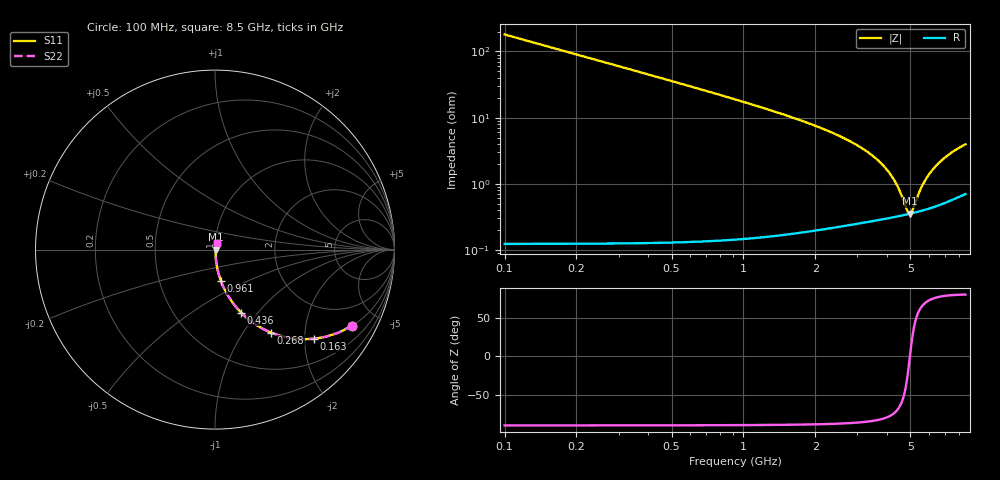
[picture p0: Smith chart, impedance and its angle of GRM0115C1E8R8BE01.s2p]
!Murata Part Number: GRM0115C1E8R8BE01
!These Parameters are Measured in Series Mode Connection
!Data Generated on Mar 30, 2021
!  o--ll--o
!Port1  Port2
!  o------o
!Operation Temp=25[degC], DC Bias Voltage=0[V]
!Freq. Start=100[MHz] Stop=9[GHz] 401[Steps]
# Hz S RI R 50
!Freq.(Hz) S11(Real) S11(Imag) S21(Real) S21(Imag) S12(Real) S12(Imag) S22(Real) S22(Imag)
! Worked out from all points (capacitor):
!   401 points, 100 MHz to 8.5 GHz, reference 50 ohm
!   read as one part in series: C = 8.8 pF near 142 MHz
!   lowest |Z| = 353 mohm at 4.972 GHz (marker M1)
!   series resonance near 4.98 GHz, so ESL is about 120 pH
!   S11 on the Smith chart (normalised r, x): 100 MHz: 1.00, -3.62; 163 MHz: 1.00, -2.22; 268 MHz: 1.00, -1.35; 436 MHz: 1.00, -0.82; 961 MHz: 1.00, -0.36; 8.5 GHz: 1.01, +0.08
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1e8  0.7656 -0.4233  0.2344 0.4233  0.2344 0.4233  0.7656 -0.4233
1.63e8  0.5512 -0.4968  0.4488 0.4968  0.4488 0.4968  0.5512 -0.4968
2.05e8  0.4369 -0.4953  0.5631 0.4953  0.5631 0.4953  0.4369 -0.4953
2.68e8  0.3119 -0.4623  0.6881 0.4623  0.6881 0.4623  0.3119 -0.4623
3.52e8  0.2077 -0.4044  0.7923 0.4044  0.7923 0.4044  0.2077 -0.4044
4.36e8  0.1455 -0.3511  0.8545 0.3511  0.8545 0.3511  0.1455 -0.3511
6.46e8  0.0714 -0.255  0.9286 0.255  0.9286 0.255  0.0714 -0.255
9.61e8  0.033 -0.1746  0.967 0.1746  0.967 0.1746  0.033 -0.1746
1.507e9  0.0133 -0.1069  0.9867 0.1069  0.9867 0.1069  0.0133 -0.1069
2.914e9  0.00405 -0.0401  0.9959 0.0401  0.9959 0.0401  0.00405 -0.0401
3.733e9  0.00328 -0.0208  0.9967 0.0208  0.9967 0.0208  0.00328 -0.0208
4.048e9  0.00323 -0.0149  0.9968 0.0149  0.9968 0.0149  0.00323 -0.0149
4.3e9  0.00325 -0.0105  0.9968 0.0105  0.9968 0.0105  0.00325 -0.0105
4.531e9  0.00331 -0.00673  0.9967 0.00673  0.9967 0.00673  0.00331 -0.00673
4.846e9  0.00344 -0.00194  0.9966 0.00194  0.9966 0.00194  0.00344 -0.00194
4.972e9  0.00351 -0.000111  0.9965 0.000111  0.9965 0.000111  0.00351 -0.000111
5.077e9  0.00358 0.00137  0.9964 -0.00137  0.9964 -0.00137  0.00358 0.00137
5.434e9  0.00384 0.0062  0.9962 -0.0062  0.9962 -0.0062  0.00384 0.0062
5.707e9  0.00408 0.00969  0.9959 -0.00969  0.9959 -0.00969  0.00408 0.00969
6.295e9  0.00473 0.0167  0.9953 -0.0167  0.9953 -0.0167  0.00473 0.0167
7.114e9  0.00591 0.0255  0.9941 -0.0255  0.9941 -0.0255  0.00591 0.0255
8.5e9  0.00841 0.0383  0.9916 -0.0383  0.9916 -0.0383  0.00841 0.0383
